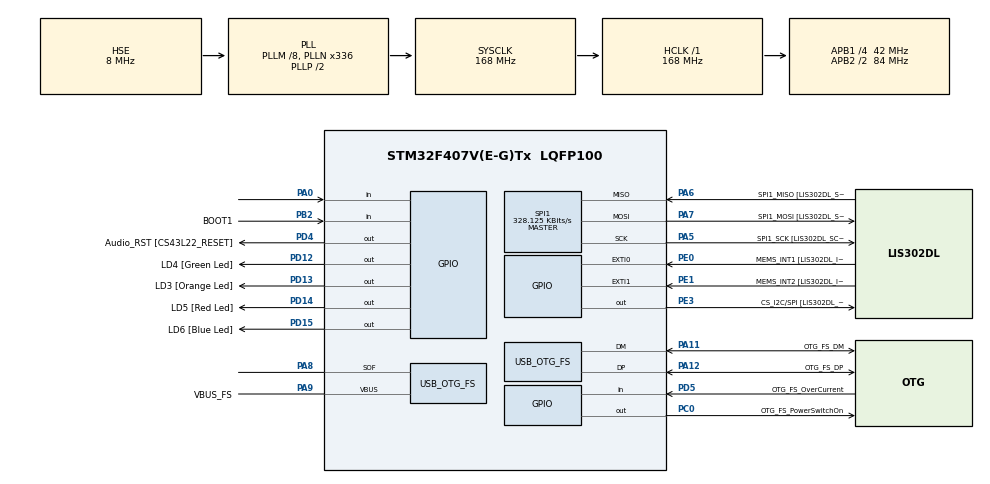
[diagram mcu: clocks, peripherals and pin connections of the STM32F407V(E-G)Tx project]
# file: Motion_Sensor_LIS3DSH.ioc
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Mcu.Family=STM32F4
Mcu.Name=STM32F407V(E-G)Tx
Mcu.Package=LQFP100
NVIC.OTG_FS_IRQn=true\:0\:0\:false\:false\:true
NVIC.PriorityGroup=NVIC_PRIORITYGROUP_0
PA0-WKUP.GPIO_PuPd=GPIO_NOPULL
PA0-WKUP.Signal=GPIO_Input
PA10.GPIO_Label=OTG_FS_ID
PA10.GPIO_Mode=GPIO_MODE_AF_PP
PA10.GPIO_PuPd=GPIO_NOPULL
PA10.GPIO_Speed=GPIO_SPEED_FREQ_LOW
PA10.Signal=USB_OTG_FS_ID
PA11.GPIO_Label=OTG_FS_DM
PA11.GPIO_Mode=GPIO_MODE_AF_PP
PA11.GPIO_PuPd=GPIO_NOPULL
PA11.GPIO_Speed=GPIO_SPEED_FREQ_LOW
PA11.Mode=Device_Only
PA11.Signal=USB_OTG_FS_DM
PA12.GPIO_Label=OTG_FS_DP
PA12.GPIO_Mode=GPIO_MODE_AF_PP
PA12.GPIO_PuPd=GPIO_NOPULL
PA12.GPIO_Speed=GPIO_SPEED_FREQ_LOW
PA12.Mode=Device_Only
PA12.Signal=USB_OTG_FS_DP
PA13.GPIO_Label=SWDIO
PA13.Mode=Trace-Asynchronous_SW
PA13.Signal=SYS_JTMS-SWDIO
PA14.GPIO_Label=SWCLK
PA14.Mode=Trace-Asynchronous_SW
PA14.Signal=SYS_JTCK-SWCLK
PA4.GPIO_Label=I2S3_WS [CS43L22_LRCK]
PA4.GPIO_Mode=GPIO_MODE_AF_PP
PA4.GPIO_PuPd=GPIO_NOPULL
PA4.GPIO_Speed=GPIO_SPEED_FREQ_LOW
PA4.Signal=I2S3_WS
PA5.GPIO_Label=SPI1_SCK [LIS302DL_SCL/SPC]
PA5.GPIO_Mode=GPIO_MODE_AF_PP
PA5.GPIO_PuPd=GPIO_NOPULL
PA5.GPIO_Speed=GPIO_SPEED_FREQ_HIGH
PA5.Mode=Full_Duplex_Master
PA5.Signal=SPI1_SCK
PA6.GPIO_Label=SPI1_MISO [LIS302DL_SDO]
PA6.GPIO_Mode=GPIO_MODE_AF_PP
PA6.GPIO_PuPd=GPIO_NOPULL
PA6.GPIO_Speed=GPIO_SPEED_FREQ_HIGH
PA6.Mode=Full_Duplex_Master
PA6.Signal=SPI1_MISO
PA7.GPIO_Label=SPI1_MOSI [LIS302DL_SDA/SDI/SDO]
PA7.GPIO_Mode=GPIO_MODE_AF_PP
PA7.GPIO_PuPd=GPIO_NOPULL
PA7.GPIO_Speed=GPIO_SPEED_FREQ_HIGH
PA7.Mode=Full_Duplex_Master
PA7.Signal=SPI1_MOSI
PA8.Mode=Activate_SOF_FS
PA8.Signal=USB_OTG_FS_SOF
PA9.GPIO_Label=VBUS_FS
PA9.GPIO_Mode=GPIO_MODE_INPUT
PA9.GPIO_PuPd=GPIO_NOPULL
PA9.Mode=Activate_VBUS
PA9.Signal=USB_OTG_FS_VBUS
PB10.GPIO_Label=CLK_IN [MP45DT02_CLK]
PB10.GPIO_Mode=GPIO_MODE_AF_PP
PB10.GPIO_PuPd=GPIO_NOPULL
PB10.GPIO_Speed=GPIO_SPEED_FREQ_LOW
PB10.Signal=I2S2_CK
PB2.GPIO_Label=BOOT1
PB2.GPIO_Mode=GPIO_MODE_INPUT
PB2.GPIO_PuPd=GPIO_NOPULL
PB2.Signal=GPIO_Input
PB3.GPIO_Label=SWO
PB3.Mode=Trace-Asynchronous_SW
PB3.Signal=SYS_JTDO-SWO
PB6.GPIO_Label=Audio_SCL [CS43L22_SCL]
PB6.GPIO_Mode=GPIO_MODE_AF_OD
PB6.GPIO_PuPd=GPIO_NOPULL
PB6.GPIO_Speed=GPIO_SPEED_FREQ_LOW
PB6.Signal=I2C1_SCL
PB9.GPIO_Label=Audio_SDA [CS43L22_SDA]
PB9.GPIO_Mode=GPIO_MODE_AF_OD
PB9.GPIO_PuPd=GPIO_NOPULL
PB9.GPIO_Speed=GPIO_SPEED_FREQ_LOW
PB9.Signal=I2C1_SDA
PC0.GPIO_Label=OTG_FS_PowerSwitchOn
PC0.GPIO_PuPd=GPIO_NOPULL
PC0.GPIO_Speed=GPIO_SPEED_FREQ_LOW
PC0.Signal=GPIO_Output
PC10.GPIO_Label=I2S3_SCK [CS43L22_SCLK]
PC10.GPIO_Mode=GPIO_MODE_AF_PP
PC10.GPIO_PuPd=GPIO_NOPULL
PC10.GPIO_Speed=GPIO_SPEED_FREQ_LOW
PC10.Signal=I2S3_CK
PC12.GPIO_Label=I2S3_SD [CS43L22_SDIN]
PC12.GPIO_Mode=GPIO_MODE_AF_PP
PC12.GPIO_PuPd=GPIO_NOPULL
PC12.GPIO_Speed=GPIO_SPEED_FREQ_LOW
PC12.Signal=I2S3_SD
PC14-OSC32_IN.GPIO_Label=PC14-OSC32_IN
PC14-OSC32_IN.Signal=RCC_OSC32_IN
PC15-OSC32_OUT.GPIO_Label=PC15-OSC32_OUT
PC15-OSC32_OUT.Signal=RCC_OSC32_OUT
PC3.GPIO_Label=PDM_OUT [MP45DT02_DOUT]
PC3.GPIO_Mode=GPIO_MODE_AF_PP
PC3.GPIO_PuPd=GPIO_NOPULL
PC3.GPIO_Speed=GPIO_SPEED_FREQ_LOW
PC3.Signal=I2S2_SD
PC7.GPIO_Label=I2S3_MCK [CS43L22_MCLK]
PC7.GPIO_Mode=GPIO_MODE_AF_PP
PC7.GPIO_PuPd=GPIO_NOPULL
PC7.GPIO_Speed=GPIO_SPEED_FREQ_LOW
PC7.Signal=I2S3_MCK
PD12.GPIO_Label=LD4 [Green Led]
PD12.GPIO_PuPd=GPIO_NOPULL
PD12.GPIO_Speed=GPIO_SPEED_FREQ_LOW
PD12.Signal=GPIO_Output
PD13.GPIO_Label=LD3 [Orange Led]
PD13.GPIO_PuPd=GPIO_NOPULL
PD13.GPIO_Speed=GPIO_SPEED_FREQ_LOW
PD13.Signal=GPIO_Output
PD14.GPIO_Label=LD5 [Red Led]
PD14.GPIO_PuPd=GPIO_NOPULL
PD14.GPIO_Speed=GPIO_SPEED_FREQ_LOW
PD14.Signal=GPIO_Output
PD15.GPIO_Label=LD6 [Blue Led]
PD15.GPIO_PuPd=GPIO_NOPULL
PD15.GPIO_Speed=GPIO_SPEED_FREQ_LOW
PD15.Signal=GPIO_Output
PD4.GPIO_Label=Audio_RST [CS43L22_RESET]
PD4.GPIO_PuPd=GPIO_NOPULL
PD4.GPIO_Speed=GPIO_SPEED_FREQ_LOW
PD4.Signal=GPIO_Output
PD5.GPIO_Label=OTG_FS_OverCurrent
PD5.GPIO_Mode=GPIO_MODE_INPUT
PD5.GPIO_PuPd=GPIO_NOPULL
PD5.Signal=GPIO_Input
PE0.GPIO_Label=MEMS_INT1 [LIS302DL_INT1]
PE0.Signal=GPXTI0
PE1.GPIO_Label=MEMS_INT2 [LIS302DL_INT2]
PE1.GPIO_ModeDefaultEXTI=GPIO_MODE_EVT_RISING
PE1.GPIO_PuPd=GPIO_NOPULL
PE1.Signal=GPXTI1
PE3.GPIO_Label=CS_I2C/SPI [LIS302DL_CS_I2C/SPI]
PE3.GPIO_PuPd=GPIO_PULLUP
PE3.GPIO_Speed=GPIO_SPEED_FREQ_VERY_HIGH
PE3.PinState=GPIO_PIN_RESET
PE3.Signal=GPIO_Output
PH0-OSC_IN.GPIO_Label=PH0-OSC_IN
PH0-OSC_IN.Mode=HSE-External-Oscillator
PH0-OSC_IN.Signal=RCC_OSC_IN
PH1-OSC_OUT.GPIO_Label=PH1-OSC_OUT
PH1-OSC_OUT.Mode=HSE-External-Oscillator
PH1-OSC_OUT.Signal=RCC_OSC_OUT
ProjectManager.HeapSize=0x1000
ProjectManager.StackSize=0x1000
ProjectManager.TargetToolchain=SW4STM32
RCC.48MHZClocksFreq_Value=48000000
RCC.AHBFreq_Value=168000000
RCC.APB1CLKDivider=RCC_HCLK_DIV4
RCC.APB1Freq_Value=42000000
RCC.APB1TimFreq_Value=84000000
RCC.APB2CLKDivider=RCC_HCLK_DIV2
RCC.APB2Freq_Value=84000000
RCC.APB2TimFreq_Value=168000000
RCC.CortexFreq_Value=168000000
RCC.HCLKFreq_Value=168000000
RCC.HSE_VALUE=8000000
RCC.HSI_VALUE=16000000
RCC.LSE_VALUE=32768
RCC.PLLM=8
RCC.PLLN=336
RCC.PLLQ=7
RCC.SYSCLKFreq_VALUE=168000000
RCC.SYSCLKSource=RCC_SYSCLKSOURCE_PLLCLK
RCC.VCOOutputFreq_Value=336000000
SPI1.BaudRatePrescaler=SPI_BAUDRATEPRESCALER_256
SPI1.CLKPhase=SPI_PHASE_2EDGE
SPI1.CLKPolarity=SPI_POLARITY_LOW
SPI1.CalculateBaudRate=328.125 KBits/s
SPI1.Mode=SPI_MODE_MASTER
USB_DEVICE.CLASS_NAME-CUSTOM_HID_FS=CUSTOMHID
USB_DEVICE.USBD_CUSTOMHID_OUTREPORT_BUF_SIZE-CUSTOM_HID_FS=16
USB_DEVICE.USBD_CUSTOM_HID_REPORT_DESC_SIZE-CUSTOM_HID_FS=16
USB_DEVICE.USBD_HandleTypeDef-CUSTOM_HID_FS=hUsbDeviceFS
USB_DEVICE.VirtualMode-CUSTOM_HID_FS=CustomHid
USB_DEVICE.VirtualModeFS=Custom_Hid_FS
USB_OTG_FS.VirtualMode=Device_Only
VP_USB_DEVICE_VS_USB_DEVICE_CUSTOM_HID_FS.Mode=CUSTOM_HID_FS
board=STM32F407G-DISC1

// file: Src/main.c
/**
  ******************************************************************************
  * File Name          : main.c
  * Description        : Main program body
  ******************************************************************************
  *
  * COPYRIGHT(c) 2016 STMicroelectronics
  *
  * Redistribution and use in source and binary forms, with or without modification,
  * are permitted provided that the following conditions are met:
  *   1. Redistributions of source code must retain the above copyright notice,
  *      this list of conditions and the following disclaimer.
  *   2. Redistributions in binary form must reproduce the above copyright notice,
  *      this list of conditions and the following disclaimer in the documentation
  *      and/or other materials provided with the distribution.
  *   3. Neither the name of STMicroelectronics nor the names of its contributors
  *      may be used to endorse or promote products derived from this software
  *      without specific prior written permission.
  *
  * THIS SOFTWARE IS PROVIDED BY THE COPYRIGHT HOLDERS AND CONTRIBUTORS "AS IS"
  * AND ANY EXPRESS OR IMPLIED WARRANTIES, INCLUDING, BUT NOT LIMITED TO, THE
  * IMPLIED WARRANTIES OF MERCHANTABILITY AND FITNESS FOR A PARTICULAR PURPOSE ARE
  * DISCLAIMED. IN NO EVENT SHALL THE COPYRIGHT HOLDER OR CONTRIBUTORS BE LIABLE
  * FOR ANY DIRECT, INDIRECT, INCIDENTAL, SPECIAL, EXEMPLARY, OR CONSEQUENTIAL
  * DAMAGES (INCLUDING, BUT NOT LIMITED TO, PROCUREMENT OF SUBSTITUTE GOODS OR
  * SERVICES; LOSS OF USE, DATA, OR PROFITS; OR BUSINESS INTERRUPTION) HOWEVER
  * CAUSED AND ON ANY THEORY OF LIABILITY, WHETHER IN CONTRACT, STRICT LIABILITY,
  * OR TORT (INCLUDING NEGLIGENCE OR OTHERWISE) ARISING IN ANY WAY OUT OF THE USE
  * OF THIS SOFTWARE, EVEN IF ADVISED OF THE POSSIBILITY OF SUCH DAMAGE.
  *
  ******************************************************************************
  */
#include "stm32f4xx_hal.h"
#include "spi.h"
#include "usb_device.h"
#include "gpio.h"

/* USER CODE BEGIN Includes */
#include "usbd_custom_hid_if.h"
#include <stdlib.h>
#include <math.h>
/* USER CODE END Includes */

/* USER CODE BEGIN PV */
/* Private variables ---------------------------------------------------------*/

/* USER CODE END PV */

void SystemClock_Config(void);

/* USER CODE BEGIN PFP */
/* Private function prototypes -----------------------------------------------*/
void SPI_send(uint8_t address, uint8_t data);
uint8_t SPI_read(uint8_t address);
/* USER CODE END PFP */

/* USER CODE BEGIN 0 */
uint8_t i;
int16_t MSB, LSB;
int16_t Xg, Yg, Zg;                             // 16-bit values from accelerometer
int16_t Xc, Yc, Zc;                             // Compensative values
int16_t temperature;
char print_buffer[CUSTOM_HID_EPOUT_SIZE];       // printing the values in USB

void SPI_send(uint8_t address, uint8_t data)
{
  address = (address | 0x80) ^ 0x80;

  HAL_GPIO_WritePin(GPIOE, GPIO_PIN_3, GPIO_PIN_RESET);

  HAL_SPI_Transmit(&hspi1, &address, sizeof(address), 0x1000);
  HAL_SPI_Transmit(&hspi1, &data, sizeof(data), 0x1000);

  HAL_GPIO_WritePin(GPIOE, GPIO_PIN_3, GPIO_PIN_SET);
}

uint8_t SPI_read(uint8_t address)
{
  uint8_t transmit_data = address | 0x80;      // 0b10 - reading and clearing status
  uint8_t receive_data = 0;

  HAL_GPIO_WritePin(GPIOE, GPIO_PIN_3, GPIO_PIN_RESET);

  HAL_SPI_Transmit(&hspi1, &transmit_data, sizeof(transmit_data), 0x1000);
  transmit_data = 0x00;
  HAL_SPI_TransmitReceive(&hspi1, &transmit_data, &receive_data, sizeof(transmit_data), 0x1000);

  HAL_GPIO_WritePin(GPIOE, GPIO_PIN_3, GPIO_PIN_SET);

  return receive_data;
}

int convert(int16_t a) {
  int16_t ret = ((int32_t)a * 2000) / 0x7fff;
  return ret;
}

/* USER CODE END 0 */

int main(void)
{

  /* MCU Configuration----------------------------------------------------------*/

  /* Reset of all peripherals, Initializes the Flash interface and the Systick. */
  HAL_Init();

  /* Configure the system clock */
  SystemClock_Config();

  /* Initialize all configured peripherals */
  MX_GPIO_Init();
  MX_USB_DEVICE_Init();
  MX_SPI1_Init();

  /* USER CODE BEGIN 2 */
  Xc = Yc = Xc = 0;

  SPI_send(0x20, 0x67);                         // 100Hz data update rate, block data update enabled, x/y/z enabled
  SPI_send(0x23, 0xc8);                         // resetting the accelerometer internal circuit
  SPI_send(0x24, 0x20);                         // Anti aliasing filter bandwidth 800Hz, 16G (very sensitive), no self-test, 4-wire interface
  //  SPI_send(0x10, 0x00);                         // Output(X) = Measurement(X) - OFFSET(X) * 32;
  //  SPI_send(0x11, 0x00);                         // Output(Y) = Measurement(Y) - OFFSET(Y) * 32;
  //  SPI_send(0x12, 0x00);                         // Output(Z) = Measurement(Z) - OFFSET(Z) * 32;

  /* USER CODE END 2 */

  /* Infinite loop */
  while (1)
  {

    /* USER CODE BEGIN 3 */
    uint8_t status = SPI_read(0x27);
    if(status & 0x07){
      LSB = SPI_read(0x28);                     // X-axis LSB
      MSB = SPI_read(0x29);                     // X-axis MSB
      Xg = (MSB << 8) | (LSB);                  // Merging

      LSB = SPI_read(0x2a);                     // Y-axis LSB
      MSB = SPI_read(0x2b);                     // Y-axis MSB
      Yg = (MSB << 8) | (LSB);                  // Merging

      LSB = SPI_read(0x2c);                     // Z-axis LSB
      MSB = SPI_read(0x2d);                     // Z-axis MSB
      Zg = (MSB << 8) | (LSB);                  // Merging

      Xg = convert(Xg);
      Yg = convert(Yg);
      Zg = convert(Zg);

      if(HAL_GPIO_ReadPin(GPIOA, GPIO_PIN_0) == GPIO_PIN_SET){
        Xc = -Xg;
        Yc = -Yg;
        Zc = -Zg;
        HAL_GPIO_WritePin(GPIOD, GPIO_PIN_12, GPIO_PIN_SET);
        HAL_Delay(500);
        HAL_GPIO_WritePin(GPIOD, GPIO_PIN_12, GPIO_PIN_RESET);
      }

      Xg += Xc;
      Yg += Yc;
      Zg += Zc;

      sprintf(print_buffer, "Xg = %d\nYg = %d\nZg = %d\ntemp = %d\n\n", Xg, Yg, Zg, SPI_read(0xc));
      USBD_CUSTOM_HID_SendReport(&hUsbDeviceFS, (uint8_t*)print_buffer, sizeof(print_buffer));

    }
  }

  /* USER CODE END 3 */

}

/** System Clock Configuration
*/
void SystemClock_Config(void)
{

  RCC_OscInitTypeDef RCC_OscInitStruct;
  RCC_ClkInitTypeDef RCC_ClkInitStruct;

  __HAL_RCC_PWR_CLK_ENABLE();

  __HAL_PWR_VOLTAGESCALING_CONFIG(PWR_REGULATOR_VOLTAGE_SCALE1);

  RCC_OscInitStruct.OscillatorType = RCC_OSCILLATORTYPE_HSE;
  RCC_OscInitStruct.HSEState = RCC_HSE_ON;
  RCC_OscInitStruct.PLL.PLLState = RCC_PLL_ON;
  RCC_OscInitStruct.PLL.PLLSource = RCC_PLLSOURCE_HSE;
  RCC_OscInitStruct.PLL.PLLM = 8;
  RCC_OscInitStruct.PLL.PLLN = 336;
  RCC_OscInitStruct.PLL.PLLP = RCC_PLLP_DIV2;
  RCC_OscInitStruct.PLL.PLLQ = 7;
  HAL_RCC_OscConfig(&RCC_OscInitStruct);

  RCC_ClkInitStruct.ClockType = RCC_CLOCKTYPE_HCLK|RCC_CLOCKTYPE_SYSCLK
      |RCC_CLOCKTYPE_PCLK1|RCC_CLOCKTYPE_PCLK2;
  RCC_ClkInitStruct.SYSCLKSource = RCC_SYSCLKSOURCE_PLLCLK;
  RCC_ClkInitStruct.AHBCLKDivider = RCC_SYSCLK_DIV1;
  RCC_ClkInitStruct.APB1CLKDivider = RCC_HCLK_DIV4;
  RCC_ClkInitStruct.APB2CLKDivider = RCC_HCLK_DIV2;
  HAL_RCC_ClockConfig(&RCC_ClkInitStruct, FLASH_LATENCY_5);

  HAL_SYSTICK_Config(HAL_RCC_GetHCLKFreq()/1000);

  HAL_SYSTICK_CLKSourceConfig(SYSTICK_CLKSOURCE_HCLK);

  /* SysTick_IRQn interrupt configuration */
  HAL_NVIC_SetPriority(SysTick_IRQn, 0, 0);
}

/************************ (C) COPYRIGHT STMicroelectronics *****END OF FILE****/
